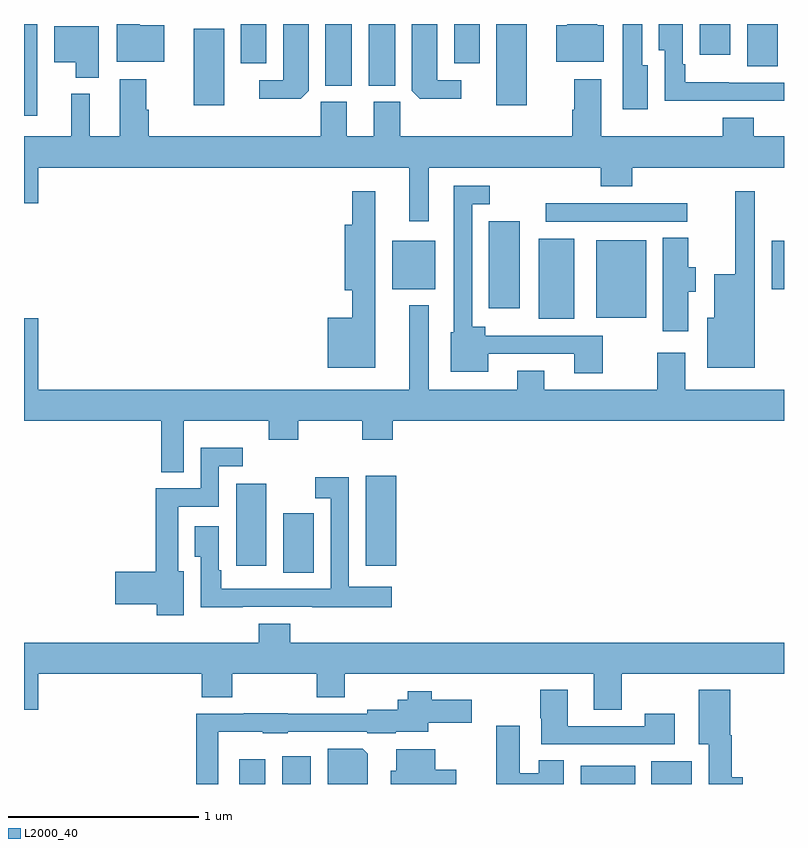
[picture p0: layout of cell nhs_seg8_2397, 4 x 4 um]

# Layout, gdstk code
import gdstk
lib = gdstk.Library(unit=1e-6, precision=1e-09)
def R(c, l, rs):  # rectangles x0, y0, x1, y1
    for r in rs: c.add(gdstk.rectangle(r[:2], r[2:], *l))
def P(c, l, *ps):  # polygons
    for p in ps: c.add(gdstk.Polygon(p, *l))
L2000_40 = (2000, 40)

nhs_seg8_2397 = lib.new_cell('nhs_seg8_2397')
R(nhs_seg8_2397, L2000_40, [(262.133,1135.9,262.27,1136.029), (262.358,1135.9,262.51,1136.047), (263.93,1135.9,264.217,1135.996), (264.302,1135.9,264.514,1136.02), (262.364,1137.013,262.525,1137.324), (262.118,1137.048,262.276,1137.481), (262.799,1137.048,262.96,1137.523), (263.708,1138.349,263.896,1138.771), (264.011,1138.355,264.274,1138.762), (263.447,1138.404,263.608,1138.861), (262.937,1138.505,263.164,1138.759), (264.935,1138.505,265,1138.759), (263.745,1138.86,264.49,1138.956), (261,1139.418,261.069,1139.9), (261.893,1139.472,262.054,1139.875), (263.486,1139.472,263.647,1139.9), (262.586,1139.575,262.726,1139.9), (262.814,1139.575,262.954,1139.9), (264.806,1139.677,264.967,1139.9), (262.142,1139.694,262.276,1139.9), (263.264,1139.694,263.398,1139.9), (264.557,1139.739,264.718,1139.9)])
P(nhs_seg8_2397, L2000_40, [(264.593,1139.496),(264.959,1139.496),(264.959,1139.495),(265,1139.495),(265,1139.592),(264.71,1139.592),(264.71,1139.593),(264.481,1139.593),(264.481,1139.689),(264.468,1139.689),(264.468,1139.9),(264.341,1139.9),(264.341,1139.761),(264.372,1139.761),(264.372,1139.495),(264.593,1139.495)],
  [(263.302,1139.604),(263.176,1139.604),(263.176,1139.9),(263.042,1139.9),(263.042,1139.548),(263.083,1139.507),(263.302,1139.507)],
  [(261.739,1139.893),(261.61,1139.893),(261.61,1139.9),(261.488,1139.9),(261.488,1139.702),(261.739,1139.702)],
  [(264.283,1139.683),(264.253,1139.683),(264.253,1139.9),(264.152,1139.9),(264.152,1139.451),(264.283,1139.451)],
  [(264.052,1139.893),(264.016,1139.893),(264.016,1139.9),(263.858,1139.9),(263.858,1139.893),(263.801,1139.893),(263.801,1139.702),(264.052,1139.702)],
  [(262.498,1139.548),(262.498,1139.9),(262.364,1139.9),(262.364,1139.604),(262.239,1139.604),(262.239,1139.507),(262.457,1139.507)],
  [(261.394,1139.887),(261.158,1139.887),(261.158,1139.699),(261.272,1139.699),(261.272,1139.618),(261.394,1139.618)],
  [(263.131,1139.144),(264.035,1139.144),(264.035,1139.045),(264.2,1139.045),(264.2,1139.144),(265,1139.144),(265,1139.308),(264.842,1139.308),(264.842,1139.407),(264.677,1139.407),(264.677,1139.308),(264.037,1139.308),(264.037,1139.608),(263.897,1139.608),(263.897,1139.45),(263.885,1139.45),(263.885,1139.308),(262.979,1139.308),(262.979,1139.49),(262.841,1139.49),(262.841,1139.308),(262.699,1139.308),(262.699,1139.49),(262.561,1139.49),(262.561,1139.308),(261.656,1139.308),(261.656,1139.45),(261.643,1139.45),(261.643,1139.608),(261.503,1139.608),(261.503,1139.308),(261.346,1139.308),(261.346,1139.533),(261.248,1139.533),(261.248,1139.308),(261,1139.308),(261,1138.956),(261.076,1138.956),(261.076,1139.144),(263.027,1139.144),(263.027,1138.863),(263.131,1138.863)],
  [(264.045,1138.26),(263.428,1138.26),(263.428,1138.306),(263.358,1138.306),(263.358,1138.952),(263.452,1138.952),(263.452,1139.049),(263.262,1139.049),(263.262,1138.278),(263.246,1138.278),(263.246,1138.07),(263.443,1138.07),(263.443,1138.164),(263.897,1138.164),(263.897,1138.062),(264.045,1138.062)],
  [(264.847,1139.02),(264.743,1139.02),(264.743,1138.582),(264.632,1138.582),(264.632,1138.354),(264.596,1138.354),(264.596,1138.091),(264.847,1138.091)],
  [(262.849,1139.02),(262.728,1139.02),(262.728,1138.843),(262.688,1138.843),(262.688,1138.499),(262.728,1138.499),(262.728,1138.354),(262.598,1138.354),(262.598,1138.091),(262.849,1138.091)],
  [(264.496,1138.492),(264.535,1138.492),(264.535,1138.621),(264.496,1138.621),(264.496,1138.775),(264.362,1138.775),(264.362,1138.284),(264.496,1138.284)],
  [(261.841,1137.812),(262.288,1137.812),(262.288,1137.713),(262.443,1137.713),(262.443,1137.812),(262.78,1137.812),(262.78,1137.713),(262.94,1137.713),(262.94,1137.812),(265,1137.812),(265,1137.976),(264.481,1137.976),(264.481,1138.171),(264.334,1138.171),(264.334,1137.976),(263.737,1137.976),(263.737,1138.075),(263.597,1138.075),(263.597,1137.976),(263.131,1137.976),(263.131,1138.42),(263.027,1138.42),(263.027,1137.976),(261.076,1137.976),(261.076,1138.351),(261,1138.351),(261,1137.812),(261.723,1137.812),(261.723,1137.541),(261.841,1137.541)],
  [(261.841,1137.019),(261.811,1137.019),(261.811,1137.36),(262.026,1137.36),(262.026,1137.573),(262.15,1137.573),(262.15,1137.67),(261.93,1137.67),(261.93,1137.456),(261.693,1137.456),(261.693,1137.017),(261.48,1137.017),(261.48,1136.846),(261.698,1136.846),(261.698,1136.787),(261.841,1136.787)],
  [(262.151,1136.832),(262.517,1136.832),(262.517,1136.831),(262.936,1136.831),(262.936,1136.938),(262.71,1136.938),(262.71,1137.514),(262.533,1137.514),(262.533,1137.405),(262.614,1137.405),(262.614,1136.928),(262.039,1136.928),(262.039,1137.025),(262.026,1137.025),(262.026,1137.256),(261.899,1137.256),(261.899,1137.097),(261.93,1137.097),(261.93,1136.831),(262.151,1136.831)],
  [(264.147,1136.48),(265,1136.48),(265,1136.644),(262.4,1136.644),(262.4,1136.743),(262.235,1136.743),(262.235,1136.644),(261,1136.644),(261,1136.292),(261.076,1136.292),(261.076,1136.48),(261.935,1136.48),(261.935,1136.356),(262.095,1136.356),(262.095,1136.48),(262.54,1136.48),(262.54,1136.356),(262.687,1136.356),(262.687,1136.48),(263.999,1136.48),(263.999,1136.29),(264.147,1136.29)],
  [(264.424,1136.269),(264.268,1136.269),(264.268,1136.205),(263.863,1136.205),(263.863,1136.395),(263.716,1136.395),(263.716,1136.247),(263.723,1136.247),(263.723,1136.109),(264.424,1136.109)],
  [(264.784,1135.936),(264.726,1135.936),(264.726,1136.157),(264.718,1136.157),(264.718,1136.395),(264.551,1136.395),(264.551,1136.108),(264.605,1136.108),(264.605,1135.9),(264.784,1135.9)],
  [(262.023,1136.174),(262.257,1136.174),(262.257,1136.168),(262.389,1136.168),(262.389,1136.175),(262.806,1136.175),(262.806,1136.168),(262.956,1136.168),(262.956,1136.174),(263.128,1136.174),(263.128,1136.222),(263.356,1136.222),(263.356,1136.344),(263.147,1136.344),(263.147,1136.389),(263.019,1136.389),(263.019,1136.344),(262.967,1136.344),(262.967,1136.29),(262.806,1136.29),(262.806,1136.271),(262.389,1136.271),(262.389,1136.273),(262.157,1136.273),(262.157,1136.271),(261.907,1136.271),(261.907,1135.9),(262.023,1135.9)],
  [(263.842,1136.024),(263.708,1136.024),(263.708,1135.957),(263.608,1135.957),(263.608,1136.206),(263.486,1136.206),(263.486,1135.9),(263.842,1135.9)],
  [(262.81,1136.06),(262.784,1136.086),(262.598,1136.086),(262.598,1135.9),(262.81,1135.9)],
  [(263.275,1135.975),(263.164,1135.975),(263.164,1136.084),(262.958,1136.084),(262.958,1135.971),(262.931,1135.971),(262.931,1135.9),(263.275,1135.9)])

lib.write_gds('nhs_seg8_2397.gds')
